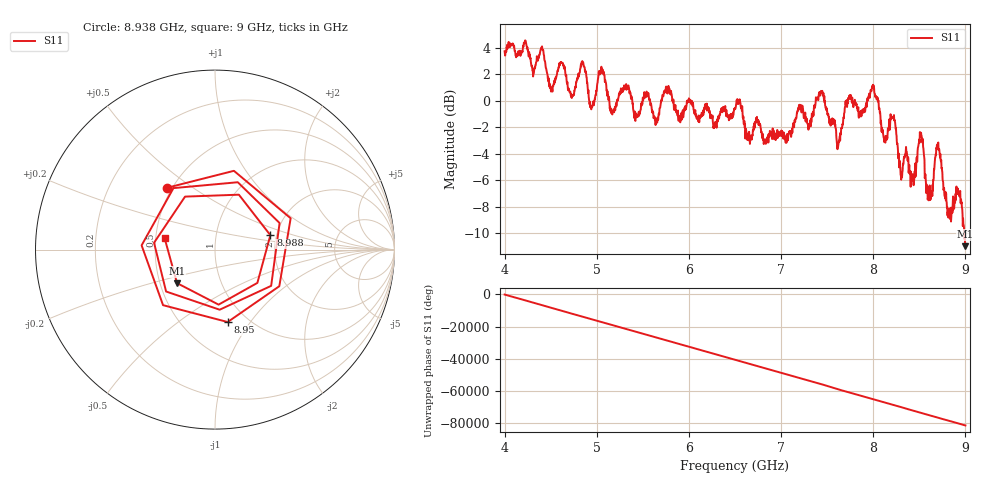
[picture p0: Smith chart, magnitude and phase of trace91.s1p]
! Created with skrf 1.8.0 (http://scikit-rf.org).
# Hz S RI R 50.0
!freq ReS11 ImS11
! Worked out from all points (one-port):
!   1601 points, 4 GHz to 9 GHz, reference 50 ohm
!   lowest |S11| = -11.0 dB at 8.997 GHz (marker M1), VSWR 1.79, Z = 30.6 - j12.4 ohm
!   |S11| at or under -10 dB: 8.988401 GHz to end of sweep
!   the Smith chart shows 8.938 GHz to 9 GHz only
!   S11 on the Smith chart (normalised r, x): 8.938 GHz: 0.47, +0.40; 8.95 GHz: 0.81, -0.79; 8.988 GHz: 1.85, +0.33; 9 GHz: 0.56, +0.08
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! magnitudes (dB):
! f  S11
! 4 GHz  3.7
! 4.403 GHz  4.0
! 4.506 GHz  0.7
! 4.625 GHz  2.8
! 4.728 GHz  0.4
! 4.85 GHz  2.8
! 4.944 GHz  -0.5
! 5.044 GHz  2.1
! 5.162 GHz  -0.9
! 5.25 GHz  0.6
! 5.875 GHz  -1.1
! 6.5 GHz  -0.7
! 7.125 GHz  -2.1
! 7.434 GHz  0.7
! 7.625 GHz  -3.1
! 7.75 GHz  0.1
! 7.997 GHz  1.2
! 8.375 GHz  -4.6
! 8.438 GHz  -6.4
! 8.519 GHz  -2.4
! 8.616 GHz  -7.5
! 8.703 GHz  -3.2
! 8.822 GHz  -8.2
! 8.938 GHz  -7.2
! 8.95 GHz  -7.8
! 8.988 GHz  -9.9
! 8.997 GHz  -11.0
! 9 GHz  -10.8
